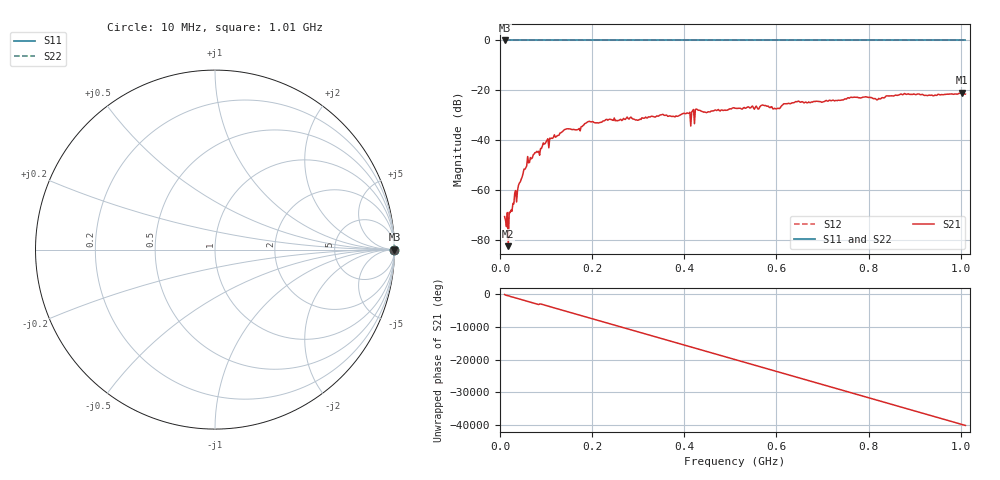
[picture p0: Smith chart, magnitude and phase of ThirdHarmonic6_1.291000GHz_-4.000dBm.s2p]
! 8/16/2025 2:07:18 PM
! C:\ANRITSUVNA\TEMP\TEMP.S2P
! CHANNEL.1
! TR.MEASUREMENT
! RAW.DATA
! RF.CORRECTION.OFF
! AVERAGING.OFF
! IF.BANDWIDTH: 5KHZ
! SWEEPTYPE:  FREQ.SWEEP(Linear)
! Reference Plane Port Info
! PORT:  PORT1  PORT2
! DISTANCE:  0  m  0  m
! TIME:  0  s  0  s
! PHASE.OFFSET:  0  deg.  0  deg.
! LOSS:  0  dB  0  dB
! REF.LOSS:  0  dB  0  dB
! REF.FREQ:  0  Hz  0  Hz
! Power Info
! POWER:  -20  dBm  -20  dBm
! EFF.POWER:  -20  dBm  -20  dBm
! SOURCE.ATTEN:  0  dB  0  dB
! TEST.ATTEN:  0  dB  0  dB
# GHZ S RI R 50.0
! FREQ.GHZ  S11RE  S11IM  S21RE  S21IM  S12RE  S12IM  S22RE  S22IM
!; PortSelection: Port_12
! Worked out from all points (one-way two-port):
!   501 points, 10 MHz to 1.01 GHz, reference 50 ohm
!   highest |S21| = -20.98 dB at 1.002 GHz (marker M1); lowest = -82.5 dB at 18 MHz (marker M2)
!   lowest |S11| = 0.0 dB at 10 MHz (marker M3)
!   |S11| at or under -10 dB: nowhere
!   |S22| runs from 0.0 to 0.0 dB; largest |S21 - S12| = 1.1
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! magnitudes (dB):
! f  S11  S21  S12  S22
! 10 MHz  0.0  -70.6  0.0  0.0
! 14 MHz  0.0  -74.6  0.0  0.0
! 18 MHz  0.0  -82.5  0.0  0.0
! 44 MHz  0.0  -56.7  0.0  0.0
! 64 MHz  0.0  -48.9  0.0  0.0
! 114 MHz  0.0  -39.3  0.0  0.0
! 142 MHz  0.0  -35.6  0.0  0.0
! 178 MHz  0.0  -34.5  0.0  0.0
! 192 MHz  0.0  -32.5  0.0  0.0
! 344 MHz  0.0  -30.4  0.0  0.0
! 408 MHz  0.0  -29.2  0.0  0.0
! 418 MHz  0.0  -28.2  0.0  0.0
! 428 MHz  0.0  -27.6  0.0  0.0
! 446 MHz  0.0  -28.8  0.0  0.0
! 510 MHz  0.0  -27.2  0.0  0.0
! 572 MHz  0.0  -26.0  0.0  0.0
! 602 MHz  0.0  -27.2  0.0  0.0
! 644 MHz  0.0  -24.6  0.0  0.0
! 678 MHz  0.0  -24.7  0.0  0.0
! 844 MHz  0.0  -22.2  0.0  0.0
! 1.002 GHz  0.0  -21.0  0.0  0.0
! 1.01 GHz  0.0  -21.5  0.0  0.0
